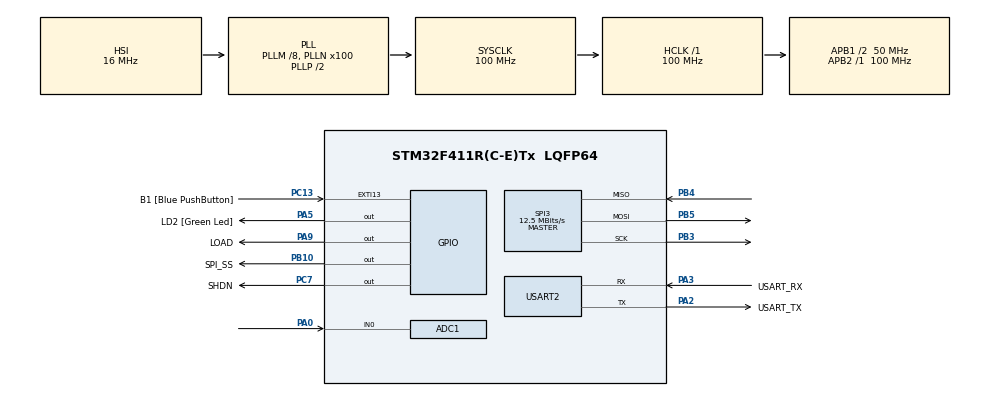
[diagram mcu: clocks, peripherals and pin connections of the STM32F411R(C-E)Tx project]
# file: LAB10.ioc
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ADC1.Channel-0\#ChannelRegularConversion=ADC_CHANNEL_0
ADC1.DMAContinuousRequests=ENABLE
ADC1.ExternalTrigConv=ADC_EXTERNALTRIGCONV_T3_TRGO
ADC1.NbrOfConversionFlag=1
ADC1.Rank-0\#ChannelRegularConversion=1
ADC1.SamplingTime-0\#ChannelRegularConversion=ADC_SAMPLETIME_3CYCLES
ADC1.ScanConvMode=ENABLE
ADC1.master=1
Dma.ADC1.0.Direction=DMA_PERIPH_TO_MEMORY
Dma.ADC1.0.FIFOMode=DMA_FIFOMODE_DISABLE
Dma.ADC1.0.Instance=DMA2_Stream0
Dma.ADC1.0.MemDataAlignment=DMA_MDATAALIGN_HALFWORD
Dma.ADC1.0.MemInc=DMA_MINC_ENABLE
Dma.ADC1.0.Mode=DMA_CIRCULAR
Dma.ADC1.0.PeriphDataAlignment=DMA_PDATAALIGN_HALFWORD
Dma.ADC1.0.PeriphInc=DMA_PINC_DISABLE
Dma.ADC1.0.Priority=DMA_PRIORITY_LOW
Dma.Request0=ADC1
Mcu.Family=STM32F4
Mcu.Name=STM32F411R(C-E)Tx
Mcu.Package=LQFP64
NVIC.ADC_IRQn=true\:0\:0\:false\:false\:true\:true\:true
NVIC.DMA2_Stream0_IRQn=true\:0\:0\:false\:false\:true\:false\:true
NVIC.PriorityGroup=NVIC_PRIORITYGROUP_0
NVIC.TIM1_TRG_COM_TIM11_IRQn=true\:0\:0\:false\:false\:true\:true\:true
NVIC.USART2_IRQn=true\:0\:0\:false\:false\:true\:true\:true
PA0-WKUP.Signal=ADCx_IN0
PA13.GPIO_Label=TMS
PA13.Mode=Serial_Wire
PA13.Signal=SYS_JTMS-SWDIO
PA14.GPIO_Label=TCK
PA14.Mode=Serial_Wire
PA14.Signal=SYS_JTCK-SWCLK
PA2.GPIO_Label=USART_TX
PA2.Mode=Asynchronous
PA2.Signal=USART2_TX
PA3.GPIO_Label=USART_RX
PA3.Mode=Asynchronous
PA3.Signal=USART2_RX
PA5.GPIO_Label=LD2 [Green Led]
PA5.PinState=GPIO_PIN_RESET
PA5.Signal=GPIO_Output
PA9.GPIO_Label=LOAD
PA9.PinState=GPIO_PIN_RESET
PA9.Signal=GPIO_Output
PB10.GPIO_Label=SPI_SS
PB10.PinState=GPIO_PIN_SET
PB10.Signal=GPIO_Output
PB3.Mode=Full_Duplex_Master
PB3.Signal=SPI3_SCK
PB4.Mode=Full_Duplex_Master
PB4.Signal=SPI3_MISO
PB5.Mode=Full_Duplex_Master
PB5.Signal=SPI3_MOSI
PC13-ANTI_TAMP.GPIO_Label=B1 [Blue PushButton]
PC13-ANTI_TAMP.GPIO_ModeDefaultEXTI=GPIO_MODE_IT_FALLING
PC13-ANTI_TAMP.Signal=GPXTI13
PC14-OSC32_IN.Mode=LSE-External-Oscillator
PC14-OSC32_IN.Signal=RCC_OSC32_IN
PC15-OSC32_OUT.Mode=LSE-External-Oscillator
PC15-OSC32_OUT.Signal=RCC_OSC32_OUT
PC7.GPIO_Label=SHDN
PC7.PinState=GPIO_PIN_SET
PC7.Signal=GPIO_Output
PH0\ -\ OSC_IN.Mode=HSE-External-Clock-Source
PH0\ -\ OSC_IN.Signal=RCC_OSC_IN
PH1\ -\ OSC_OUT.Mode=HSE-External-Clock-Source
PH1\ -\ OSC_OUT.Signal=RCC_OSC_OUT
ProjectManager.HeapSize=0x200
ProjectManager.StackSize=0x400
ProjectManager.TargetToolchain=STM32CubeIDE
RCC.48MHZClocksFreq_Value=50000000
RCC.AHBFreq_Value=100000000
RCC.APB1CLKDivider=RCC_HCLK_DIV2
RCC.APB1Freq_Value=50000000
RCC.APB1TimFreq_Value=100000000
RCC.APB2Freq_Value=100000000
RCC.APB2TimFreq_Value=100000000
RCC.CortexFreq_Value=100000000
RCC.FLatency-AdvancedSettings=FLASH_LATENCY_3
RCC.HCLKFreq_Value=100000000
RCC.HSE_VALUE=8000000
RCC.HSI_VALUE=16000000
RCC.PLLM=8
RCC.PLLN=100
RCC.SYSCLKFreq_VALUE=100000000
RCC.SYSCLKSource=RCC_SYSCLKSOURCE_PLLCLK
RCC.VCOOutputFreq_Value=200000000
SH.ADCx_IN0.0=ADC1_IN0,IN0
SPI3.BaudRatePrescaler=SPI_BAUDRATEPRESCALER_4
SPI3.CalculateBaudRate=12.5 MBits/s
SPI3.DataSize=SPI_DATASIZE_16BIT
SPI3.Direction=SPI_DIRECTION_2LINES
SPI3.Mode=SPI_MODE_MASTER
SPI3.VirtualType=VM_MASTER
TIM11.Prescaler=99
TIM3.Period=100
TIM3.Prescaler=99
TIM3.TIM_MasterOutputTrigger=TIM_TRGO_UPDATE
USART2.VirtualMode=VM_ASYNC
VP_TIM11_VS_ClockSourceINT.Mode=Enable_Timer
VP_TIM3_VS_ClockSourceINT.Mode=Internal
board=NUCLEO-F411RE

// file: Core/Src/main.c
/* USER CODE BEGIN Header */
/**
 ******************************************************************************
 * @file           : main.c
 * @brief          : Main program body
 ******************************************************************************
 * @attention
 *
 * <h2><center>&copy; Copyright (c) 2021 STMicroelectronics.
 * All rights reserved.</center></h2>
 *
 * This software component is licensed by ST under BSD 3-Clause license,
 * the "License"; You may not use this file except in compliance with the
 * License. You may obtain a copy of the License at:
 *                        opensource.org/licenses/BSD-3-Clause
 *
 ******************************************************************************
 */
/* USER CODE END Header */
#include "main.h"
#include <math.h>
/* USER CODE BEGIN Includes */
#include <stdio.h>
#include <string.h>
/* USER CODE END Includes */

ADC_HandleTypeDef hadc1;
DMA_HandleTypeDef hdma_adc1;

SPI_HandleTypeDef hspi3;

TIM_HandleTypeDef htim3;
TIM_HandleTypeDef htim11;

UART_HandleTypeDef huart2;

/* USER CODE BEGIN PV */
char ADatabuffer[32] = {0};
char BDatabuffer[32] = {0};
char Menu[]="Sawtooth[1]\r\nSine wave[2]\r\nSquare wave[3]\r\n";
char Menusawtooth[]="Frequency Up[+]\r\nFrequency Down[-]\r\nVoltage High[h]\r\nVoltage Low[l]\r\nSlope Up[u]\r\nSlope Down[d]\r\nExit[x]\r\n";
char Menusinwave[]="Frequency Up[+]\r\nFrequency Down[-]\r\nVoltage High[h]\r\nVoltage Low[l]\r\nExit[x]\r\n";
char Menusquarewave[]="Frequency Up[+]\r\nFrequency Down[-]\r\nVoltage High[h]\r\nVoltage Low[l]\r\nDuty cycle[p-m]\r\nExit[x]\r\n";
char Showfrequency[15]="";
char Showdutycycle[15]="";
char Showvolhigh[15]="";
char Showvollow[15]="";
char Showslopeup[]="Slope Up\r\n";
char Showslopedown[]="Slope Down\r\n";
int Wave = 0;
float Frequency;
float Voltage;
float Volhigh = 3.3;
float Vollow = 0;
float angle;
int Slope = 1;
float Duty_cycle = 50;
int16_t inputchar = 0;
uint16_t ADCin = 0;
uint64_t _micro = 0;
uint16_t dataOut = 0;
uint8_t DACConfig = 0b0011;
uint8_t State_Now = 0;
float TimeNow;
float Period ;
float Amplitude;
enum State
{
	State_Start = 0000,
	State_Menu = 0001,
	State_Menu_Sawtooth = 0010,
	State_Menu_SinWave = 0011,
	State_Menu_Squarewave = 0100,
	State_Choose_Work = 0101,

};
/* USER CODE END PV */

void SystemClock_Config(void);
static void MX_GPIO_Init(void);
static void MX_DMA_Init(void);
static void MX_USART2_UART_Init(void);
static void MX_ADC1_Init(void);
static void MX_SPI3_Init(void);
static void MX_TIM3_Init(void);
static void MX_TIM11_Init(void);
/* USER CODE BEGIN PFP */
void MCP4922SetOutput(uint8_t Config, uint16_t DACOutput);
uint64_t micros();
int16_t UARTRecieve();
/* USER CODE END PFP */

int main(void)
{

  /* MCU Configuration--------------------------------------------------------*/

  /* Reset of all peripherals, Initializes the Flash interface and the Systick. */
  HAL_Init();

  /* Configure the system clock */
  SystemClock_Config();

  /* Initialize all configured peripherals */
  MX_GPIO_Init();
  MX_DMA_Init();
  MX_USART2_UART_Init();
  MX_ADC1_Init();
  MX_SPI3_Init();
  MX_TIM3_Init();
  MX_TIM11_Init();
  /* USER CODE BEGIN 2 */
	HAL_TIM_Base_Start(&htim3);
	HAL_TIM_Base_Start_IT(&htim11);
	HAL_ADC_Start_DMA(&hadc1, (uint32_t*) &ADCin, 1);

  /* USER CODE END 2 */

  /* Infinite loop */
  /* USER CODE BEGIN WHILE */
	while (1)
	{
		static uint64_t timestamp = 0;
		static uint64_t timewave = 0;
		HAL_UART_Receive_IT(&huart2, (u_int8_t*)BDatabuffer, 32);
		inputchar = UARTRecieve();
		if(inputchar > 0)
		{
			 sprintf(ADatabuffer,"%c\r\n",inputchar);
			 HAL_UART_Transmit(&huart2, (u_int8_t*)ADatabuffer, strlen(ADatabuffer),10);
		}
		switch (State_Now)
		{
			case State_Start:
				Frequency = 0;
				Voltage = 0;
				Volhigh = 3.3;
				Vollow = 0;
				Wave = 0;
				Slope = 1;
				Duty_cycle = 50;
				HAL_UART_Transmit(&huart2, (u_int8_t*)Menu, strlen(Menu),10);
				State_Now = State_Menu;
				break;
			case State_Menu:
				if(inputchar == '1')
				{
					Frequency = 0.1;
					sprintf(Showfrequency,"Frequency = %.1f Hz\r\n",Frequency);
					HAL_UART_Transmit(&huart2, (u_int8_t*)Showfrequency, strlen(Showfrequency),10);
					HAL_UART_Transmit(&huart2, (u_int8_t*)Showslopeup, strlen(Showslopeup),10);
					State_Now = State_Menu_Sawtooth;
				}
				if(inputchar == '2')
				{
					Frequency = 0.1;
					sprintf(Showfrequency,"Frequency = %.1f Hz\r\n",Frequency);
					HAL_UART_Transmit(&huart2, (u_int8_t*)Showfrequency, strlen(Showfrequency),10);
					State_Now = State_Menu_SinWave;
				}
				if(inputchar == '3')
				{
					Frequency = 0.1;
					sprintf(Showfrequency,"Frequency = %.1f Hz\r\n",Frequency);
					HAL_UART_Transmit(&huart2, (u_int8_t*)Showfrequency, strlen(Showfrequency),10);
					sprintf(Showdutycycle,"Duty Cycle = %d\r\n",Duty_cycle);
					HAL_UART_Transmit(&huart2, (u_int8_t*)Showdutycycle, strlen(Showdutycycle),10);
					State_Now = State_Menu_Squarewave;
				}
				break;
			case State_Menu_Sawtooth:
				Wave = 1;
				HAL_UART_Transmit(&huart2, (u_int8_t*) Menusawtooth, strlen( Menusawtooth),10);
				State_Now = State_Choose_Work;
				break;
			case State_Menu_SinWave:
				Wave = 2;
				HAL_UART_Transmit(&huart2, (u_int8_t*) Menusinwave, strlen( Menusinwave),10);
				State_Now = State_Choose_Work;
				break;
			case State_Menu_Squarewave:
				Wave = 3;
				HAL_UART_Transmit(&huart2, (u_int8_t*) Menusquarewave, strlen( Menusquarewave),10);
				State_Now = State_Choose_Work;
				break;
			case State_Choose_Work:
				if(inputchar == '+')
				{
					Frequency += 0.1;
					if(Frequency > 10)
					{
						Frequency = 10;
					}
					 sprintf(Showfrequency,"Frequency = %.1f Hz\r\n",Frequency);
					 HAL_UART_Transmit(&huart2, (u_int8_t*)Showfrequency, strlen(Showfrequency),10);
					 State_Now = State_Choose_Work;
				}
				if(inputchar == '-')
				{
					Frequency -= 0.1;
					if(Frequency < 0.1)
					{
						Frequency = 0;
					}
					sprintf(Showfrequency,"Frequency = %.1f Hz\r\n",Frequency);
					HAL_UART_Transmit(&huart2, (u_int8_t*)Showfrequency, strlen(Showfrequency),10);
				}
				if(inputchar == 'h')
				{
					Volhigh += 0.1;
					if(Volhigh > 10)
					{
						Volhigh = 10;
					}
					sprintf(Showvolhigh,"Vol_high = %.1f V\r\n",Volhigh);
					HAL_UART_Transmit(&huart2, (u_int8_t*)Showvolhigh, strlen(Showvolhigh),10);
				}
				if(inputchar == 'j')
				{
					Volhigh -= 0.1;
					if(Volhigh < 0)
					{
						Volhigh = 0;
					}
					sprintf(Showvolhigh,"Vol_high = %.1f V\r\n",Volhigh);
					HAL_UART_Transmit(&huart2, (u_int8_t*)Showvolhigh, strlen(Showvolhigh),10);
				}
				if(inputchar == 'l')
				{
					Vollow += 0.1;
					if(Vollow > 10)
					{
						Vollow = 10;
					}
						sprintf(Showvollow,"Vol_low = %.1f V\r\n",Vollow);
						HAL_UART_Transmit(&huart2, (u_int8_t*)Showvollow, strlen(Showvollow),10);
				}
				if(inputchar == 'k')
				{
					Vollow -= 0.1;
					if(Vollow < 0)
					{
						Vollow = 0;
					}
					sprintf(Showvollow,"Vol_low = %.1f V\r\n",Vollow);
					HAL_UART_Transmit(&huart2, (u_int8_t*)Showvollow, strlen(Showvollow),10);
				}
				if(inputchar == 'u')
				{
					Slope = 1;
					HAL_UART_Transmit(&huart2, (u_int8_t*)Showslopeup, strlen(Showslopeup),10);
				}
				if(inputchar == 'd')
				{
					Slope = 0;
					HAL_UART_Transmit(&huart2, (u_int8_t*)Showslopedown, strlen(Showslopedown),10);
				}
				if(inputchar == 'p')
				{
					Duty_cycle += 10;
					sprintf(Showdutycycle,"Duty Cycle = %d %\r\n",Duty_cycle);
					HAL_UART_Transmit(&huart2, (u_int8_t*)Showdutycycle, strlen(Showdutycycle),10);
				}
				if(inputchar == 'm')
				{
					Duty_cycle -= 10;
					sprintf(Showdutycycle,"Duty Cycle = %d %\r\n",Duty_cycle);
					HAL_UART_Transmit(&huart2, (u_int8_t*)Showdutycycle, strlen(Showdutycycle),10);
				}
				if(inputchar == 'x')
				{
					State_Now = State_Start;
				}
				break;
		}
		if (micros() - timestamp > 100)
		{
			timestamp = micros();
			TimeNow = micros()-timewave;
			Period = 1000000/Frequency;
			Amplitude = Volhigh - Vollow;
			if(Wave == 1)
			{
				if(Slope == 1)
				{
					if(TimeNow <= Period)
					{
						Voltage =  Vollow + (Amplitude * (TimeNow / Period));
					}
					else if (TimeNow > Period)
					{
						timewave = micros();
					}
				}
				else if(Slope == 0)
				{
					if(TimeNow <= Period)
					{
						Voltage = Volhigh - (Amplitude * (TimeNow / Period) );
					}
					else if (TimeNow > Period)
					{
						timewave = micros();
					}
				}
			}
			if(Wave == 2)
			{
				if(TimeNow <= Period)
				{
					Voltage = Vollow + (Amplitude/2 * (sin((2*3.14/Period)*TimeNow) + 1));
				}
				else if(TimeNow > Period)
				{
					timewave = micros();
				}
			}
			if(Wave == 3)
			{
				if(TimeNow <= Period)
				{
					if(TimeNow <= (Period) * (Duty_cycle/100))
					{
						Voltage = Volhigh;
					}
					else if (TimeNow > (Period) * (Duty_cycle/100))
					{
						Voltage = Vollow;
					}
				}
				else if(TimeNow > Period)
				{
					timewave = micros();
				}
			}
			dataOut = (Voltage*4096)/3.3;
			if (hspi3.State == HAL_SPI_STATE_READY && HAL_GPIO_ReadPin(SPI_SS_GPIO_Port, SPI_SS_Pin) == 1)
			{
				MCP4922SetOutput(DACConfig, dataOut);
			}
		}

    /* USER CODE END WHILE */

	}
}

void SystemClock_Config(void)
{
  RCC_OscInitTypeDef RCC_OscInitStruct = {0};
  RCC_ClkInitTypeDef RCC_ClkInitStruct = {0};

  /** Configure the main internal regulator output voltage
  */
  __HAL_RCC_PWR_CLK_ENABLE();
  __HAL_PWR_VOLTAGESCALING_CONFIG(PWR_REGULATOR_VOLTAGE_SCALE1);
  /** Initializes the RCC Oscillators according to the specified parameters
  * in the RCC_OscInitTypeDef structure.
  */
  RCC_OscInitStruct.OscillatorType = RCC_OSCILLATORTYPE_HSI;
  RCC_OscInitStruct.HSIState = RCC_HSI_ON;
  RCC_OscInitStruct.HSICalibrationValue = RCC_HSICALIBRATION_DEFAULT;
  RCC_OscInitStruct.PLL.PLLState = RCC_PLL_ON;
  RCC_OscInitStruct.PLL.PLLSource = RCC_PLLSOURCE_HSI;
  RCC_OscInitStruct.PLL.PLLM = 8;
  RCC_OscInitStruct.PLL.PLLN = 100;
  RCC_OscInitStruct.PLL.PLLP = RCC_PLLP_DIV2;
  RCC_OscInitStruct.PLL.PLLQ = 4;
  if (HAL_RCC_OscConfig(&RCC_OscInitStruct) != HAL_OK)
  {
    Error_Handler();
  }
  /** Initializes the CPU, AHB and APB buses clocks
  */
  RCC_ClkInitStruct.ClockType = RCC_CLOCKTYPE_HCLK|RCC_CLOCKTYPE_SYSCLK
                              |RCC_CLOCKTYPE_PCLK1|RCC_CLOCKTYPE_PCLK2;
  RCC_ClkInitStruct.SYSCLKSource = RCC_SYSCLKSOURCE_PLLCLK;
  RCC_ClkInitStruct.AHBCLKDivider = RCC_SYSCLK_DIV1;
  RCC_ClkInitStruct.APB1CLKDivider = RCC_HCLK_DIV2;
  RCC_ClkInitStruct.APB2CLKDivider = RCC_HCLK_DIV1;

  if (HAL_RCC_ClockConfig(&RCC_ClkInitStruct, FLASH_LATENCY_3) != HAL_OK)
  {
    Error_Handler();
  }
}

static void MX_ADC1_Init(void)
{

  ADC_ChannelConfTypeDef sConfig = {0};

  /** Configure the global features of the ADC (Clock, Resolution, Data Alignment and number of conversion)
  */
  hadc1.Instance = ADC1;
  hadc1.Init.ClockPrescaler = ADC_CLOCK_SYNC_PCLK_DIV4;
  hadc1.Init.Resolution = ADC_RESOLUTION_12B;
  hadc1.Init.ScanConvMode = ENABLE;
  hadc1.Init.ContinuousConvMode = DISABLE;
  hadc1.Init.DiscontinuousConvMode = DISABLE;
  hadc1.Init.ExternalTrigConvEdge = ADC_EXTERNALTRIGCONVEDGE_RISING;
  hadc1.Init.ExternalTrigConv = ADC_EXTERNALTRIGCONV_T3_TRGO;
  hadc1.Init.DataAlign = ADC_DATAALIGN_RIGHT;
  hadc1.Init.NbrOfConversion = 1;
  hadc1.Init.DMAContinuousRequests = ENABLE;
  hadc1.Init.EOCSelection = ADC_EOC_SINGLE_CONV;
  if (HAL_ADC_Init(&hadc1) != HAL_OK)
  {
    Error_Handler();
  }
  /** Configure for the selected ADC regular channel its corresponding rank in the sequencer and its sample time.
  */
  sConfig.Channel = ADC_CHANNEL_0;
  sConfig.Rank = 1;
  sConfig.SamplingTime = ADC_SAMPLETIME_3CYCLES;
  if (HAL_ADC_ConfigChannel(&hadc1, &sConfig) != HAL_OK)
  {
    Error_Handler();
  }

}

static void MX_SPI3_Init(void)
{

  /* SPI3 parameter configuration*/
  hspi3.Instance = SPI3;
  hspi3.Init.Mode = SPI_MODE_MASTER;
  hspi3.Init.Direction = SPI_DIRECTION_2LINES;
  hspi3.Init.DataSize = SPI_DATASIZE_16BIT;
  hspi3.Init.CLKPolarity = SPI_POLARITY_LOW;
  hspi3.Init.CLKPhase = SPI_PHASE_1EDGE;
  hspi3.Init.NSS = SPI_NSS_SOFT;
  hspi3.Init.BaudRatePrescaler = SPI_BAUDRATEPRESCALER_4;
  hspi3.Init.FirstBit = SPI_FIRSTBIT_MSB;
  hspi3.Init.TIMode = SPI_TIMODE_DISABLE;
  hspi3.Init.CRCCalculation = SPI_CRCCALCULATION_DISABLE;
  hspi3.Init.CRCPolynomial = 10;
  if (HAL_SPI_Init(&hspi3) != HAL_OK)
  {
    Error_Handler();
  }

}

static void MX_TIM3_Init(void)
{

  TIM_ClockConfigTypeDef sClockSourceConfig = {0};
  TIM_MasterConfigTypeDef sMasterConfig = {0};

  htim3.Instance = TIM3;
  htim3.Init.Prescaler = 99;
  htim3.Init.CounterMode = TIM_COUNTERMODE_UP;
  htim3.Init.Period = 100;
  htim3.Init.ClockDivision = TIM_CLOCKDIVISION_DIV1;
  htim3.Init.AutoReloadPreload = TIM_AUTORELOAD_PRELOAD_DISABLE;
  if (HAL_TIM_Base_Init(&htim3) != HAL_OK)
  {
    Error_Handler();
  }
  sClockSourceConfig.ClockSource = TIM_CLOCKSOURCE_INTERNAL;
  if (HAL_TIM_ConfigClockSource(&htim3, &sClockSourceConfig) != HAL_OK)
  {
    Error_Handler();
  }
  sMasterConfig.MasterOutputTrigger = TIM_TRGO_UPDATE;
  sMasterConfig.MasterSlaveMode = TIM_MASTERSLAVEMODE_DISABLE;
  if (HAL_TIMEx_MasterConfigSynchronization(&htim3, &sMasterConfig) != HAL_OK)
  {
    Error_Handler();
  }

}

static void MX_TIM11_Init(void)
{

  htim11.Instance = TIM11;
  htim11.Init.Prescaler = 99;
  htim11.Init.CounterMode = TIM_COUNTERMODE_UP;
  htim11.Init.Period = 65535;
  htim11.Init.ClockDivision = TIM_CLOCKDIVISION_DIV1;
  htim11.Init.AutoReloadPreload = TIM_AUTORELOAD_PRELOAD_DISABLE;
  if (HAL_TIM_Base_Init(&htim11) != HAL_OK)
  {
    Error_Handler();
  }

}

static void MX_USART2_UART_Init(void)
{

  huart2.Instance = USART2;
  huart2.Init.BaudRate = 115200;
  huart2.Init.WordLength = UART_WORDLENGTH_8B;
  huart2.Init.StopBits = UART_STOPBITS_1;
  huart2.Init.Parity = UART_PARITY_NONE;
  huart2.Init.Mode = UART_MODE_TX_RX;
  huart2.Init.HwFlowCtl = UART_HWCONTROL_NONE;
  huart2.Init.OverSampling = UART_OVERSAMPLING_16;
  if (HAL_UART_Init(&huart2) != HAL_OK)
  {
    Error_Handler();
  }

}

static void MX_DMA_Init(void)
{

  /* DMA controller clock enable */
  __HAL_RCC_DMA2_CLK_ENABLE();

  /* DMA interrupt init */
  /* DMA2_Stream0_IRQn interrupt configuration */
  HAL_NVIC_SetPriority(DMA2_Stream0_IRQn, 0, 0);
  HAL_NVIC_EnableIRQ(DMA2_Stream0_IRQn);

}

static void MX_GPIO_Init(void)
{
  GPIO_InitTypeDef GPIO_InitStruct = {0};

  /* GPIO Ports Clock Enable */
  __HAL_RCC_GPIOC_CLK_ENABLE();
  __HAL_RCC_GPIOH_CLK_ENABLE();
  __HAL_RCC_GPIOA_CLK_ENABLE();
  __HAL_RCC_GPIOB_CLK_ENABLE();

  /*Configure GPIO pin Output Level */
  HAL_GPIO_WritePin(GPIOA, LD2_Pin|LOAD_Pin, GPIO_PIN_RESET);

  /*Configure GPIO pin Output Level */
  HAL_GPIO_WritePin(SPI_SS_GPIO_Port, SPI_SS_Pin, GPIO_PIN_SET);

  /*Configure GPIO pin Output Level */
  HAL_GPIO_WritePin(SHDN_GPIO_Port, SHDN_Pin, GPIO_PIN_SET);

  /*Configure GPIO pin : B1_Pin */
  GPIO_InitStruct.Pin = B1_Pin;
  GPIO_InitStruct.Mode = GPIO_MODE_IT_FALLING;
  GPIO_InitStruct.Pull = GPIO_NOPULL;
  HAL_GPIO_Init(B1_GPIO_Port, &GPIO_InitStruct);

  /*Configure GPIO pins : LD2_Pin LOAD_Pin */
  GPIO_InitStruct.Pin = LD2_Pin|LOAD_Pin;
  GPIO_InitStruct.Mode = GPIO_MODE_OUTPUT_PP;
  GPIO_InitStruct.Pull = GPIO_NOPULL;
  GPIO_InitStruct.Speed = GPIO_SPEED_FREQ_LOW;
  HAL_GPIO_Init(GPIOA, &GPIO_InitStruct);

  /*Configure GPIO pin : SPI_SS_Pin */
  GPIO_InitStruct.Pin = SPI_SS_Pin;
  GPIO_InitStruct.Mode = GPIO_MODE_OUTPUT_PP;
  GPIO_InitStruct.Pull = GPIO_NOPULL;
  GPIO_InitStruct.Speed = GPIO_SPEED_FREQ_LOW;
  HAL_GPIO_Init(SPI_SS_GPIO_Port, &GPIO_InitStruct);

  /*Configure GPIO pin : SHDN_Pin */
  GPIO_InitStruct.Pin = SHDN_Pin;
  GPIO_InitStruct.Mode = GPIO_MODE_OUTPUT_PP;
  GPIO_InitStruct.Pull = GPIO_NOPULL;
  GPIO_InitStruct.Speed = GPIO_SPEED_FREQ_LOW;
  HAL_GPIO_Init(SHDN_GPIO_Port, &GPIO_InitStruct);

}

/* USER CODE BEGIN 4 */
void MCP4922SetOutput(uint8_t Config, uint16_t DACOutput)
{
	uint32_t OutputPacket = (DACOutput & 0x0fff) | ((Config & 0xf) << 12);
	HAL_GPIO_WritePin(SPI_SS_GPIO_Port, SPI_SS_Pin, 0);
	HAL_SPI_Transmit_IT(&hspi3, &OutputPacket, 1);
}

void HAL_SPI_TxCpltCallback(SPI_HandleTypeDef *hspi)
{
	if (hspi == &hspi3)
	{
		HAL_GPIO_WritePin(SPI_SS_GPIO_Port, SPI_SS_Pin,1);
	}
}

void HAL_TIM_PeriodElapsedCallback(TIM_HandleTypeDef *htim)
{
	if (htim == &htim11)
	{
		_micro += 65535;
	}
}
inline uint64_t micros()
{
	return htim11.Instance->CNT + _micro;
}
int16_t UARTRecieve()
{
	static uint32_t DataPosition = 0;
	int16_t Data = -1;
	if(huart2.RxXferSize - huart2.RxXferCount != DataPosition)
	{
		Data = BDatabuffer[DataPosition];
		DataPosition = (DataPosition + 1) % huart2.RxXferSize;
	}
	return Data;

}
void HAL_UART_RxCpltCallback(UART_HandleTypeDef *huart)
{
	sprintf(ADatabuffer, "%s\r\n", BDatabuffer);
	HAL_UART_Transmit(&huart2, (uint8_t*)ADatabuffer, strlen(ADatabuffer), 1000);
}

/* USER CODE END 4 */

void Error_Handler(void)
{
	__disable_irq();
	while (1)
	{
	}
}

/************************ (C) COPYRIGHT STMicroelectronics *****END OF FILE****/
